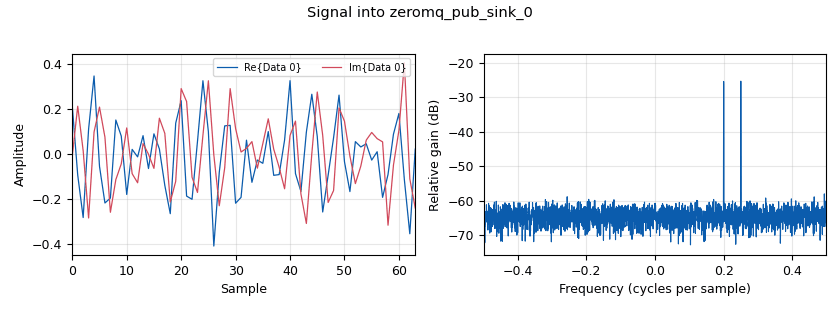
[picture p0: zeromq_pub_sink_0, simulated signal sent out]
<?xml version='1.0' encoding='utf-8'?>
<?grc format='1' created='3.7.13'?>
<flow_graph>
<block>
<key>options</key>
<param><key>id</key><value>zmq_remotectrl_sink_local</value></param>
<param><key>generate_options</key><value>qt_gui</value></param>
</block>
<block>
<key>variable_qtgui_range</key>
<param><key>id</key><value>noise_ampl</value></param>
<param><key>value</key><value>0.1</value></param>
<param><key>gui_hint</key><value>1,0,1,2</value></param>
<param><key>label</key><value>Noise Amplitude</value></param>
<param><key>orient</key><value>Qt.Horizontal</value></param>
<param><key>start</key><value>0</value></param>
<param><key>step</key><value>.001</value></param>
<param><key>stop</key><value>1</value></param>
</block>
<block>
<key>variable</key>
<param><key>id</key><value>samp_rate</value></param>
<param><key>value</key><value>32000</value></param>
</block>
<block>
<key>variable_qtgui_range</key>
<param><key>id</key><value>tone1</value></param>
<param><key>value</key><value>samp_rate/4</value></param>
<param><key>gui_hint</key><value>0,0,1,2</value></param>
<param><key>label</key><value>Tone 1</value></param>
<param><key>orient</key><value>Qt.Horizontal</value></param>
<param><key>start</key><value>-samp_rate/2</value></param>
<param><key>step</key><value>1</value></param>
<param><key>stop</key><value>samp_rate/2</value></param>
</block>
<block>
<key>variable_qtgui_range</key>
<param><key>id</key><value>tone2</value></param>
<param><key>value</key><value>samp_rate/5</value></param>
<param><key>gui_hint</key><value>0,2,1,2</value></param>
<param><key>label</key><value>Tone 2</value></param>
<param><key>orient</key><value>Qt.Horizontal</value></param>
<param><key>start</key><value>-samp_rate/2</value></param>
<param><key>step</key><value>1</value></param>
<param><key>stop</key><value>samp_rate/2</value></param>
</block>
<block>
<key>variable_qtgui_range</key>
<param><key>id</key><value>tone_ampl</value></param>
<param><key>value</key><value>0.15</value></param>
<param><key>gui_hint</key><value>1,2,1,2</value></param>
<param><key>label</key><value>Tone Amplitude</value></param>
<param><key>orient</key><value>Qt.Horizontal</value></param>
<param><key>start</key><value>0</value></param>
<param><key>step</key><value>.001</value></param>
<param><key>stop</key><value>1</value></param>
</block>
<block>
<key>variable_qtgui_range</key>
<param><key>id</key><value>tun_freq</value></param>
<param><key>value</key><value>2.40e9</value></param>
<param><key>gui_hint</key><value>3,0,1,4</value></param>
<param><key>label</key><value>UHD Freq (Hz)</value></param>
<param><key>orient</key><value>Qt.Horizontal</value></param>
<param><key>start</key><value>60e6</value></param>
<param><key>step</key><value>1</value></param>
<param><key>stop</key><value>6e9</value></param>
</block>
<block>
<key>variable_qtgui_range</key>
<param><key>id</key><value>tun_rx_gain</value></param>
<param><key>value</key><value>0</value></param>
<param><key>_enabled</key><value>0</value></param>
<param><key>gui_hint</key><value>4,2,1,2</value></param>
<param><key>label</key><value>UHD Rx Gain</value></param>
<param><key>orient</key><value>Qt.Horizontal</value></param>
<param><key>start</key><value>0</value></param>
<param><key>step</key><value>1</value></param>
<param><key>stop</key><value>20</value></param>
</block>
<block>
<key>variable_qtgui_range</key>
<param><key>id</key><value>tun_tx_gain</value></param>
<param><key>value</key><value>0</value></param>
<param><key>gui_hint</key><value>4,0,1,2</value></param>
<param><key>label</key><value>UHD Tx Gain</value></param>
<param><key>orient</key><value>Qt.Horizontal</value></param>
<param><key>start</key><value>0</value></param>
<param><key>step</key><value>1</value></param>
<param><key>stop</key><value>20</value></param>
</block>
<block>
<key>parameter</key>
<param><key>id</key><value>address0</value></param>
<param><key>label</key><value>IP Address, Dev 0</value></param>
<param><key>type</key><value>string</value></param>
<param><key>value</key><value></value></param>
</block>
<block>
<key>parameter</key>
<param><key>id</key><value>address1</value></param>
<param><key>_enabled</key><value>0</value></param>
<param><key>label</key><value>IP Address, Dev 1</value></param>
<param><key>type</key><value>string</value></param>
<param><key>value</key><value>addr=192.168.10.2</value></param>
</block>
<block>
<key>analog_noise_source_x</key>
<param><key>id</key><value>analog_noise_source_x_0</value></param>
<param><key>amp</key><value>noise_ampl</value></param>
<param><key>noise_type</key><value>analog.GR_GAUSSIAN</value></param>
<param><key>type</key><value>complex</value></param>
<param><key>seed</key><value>-42</value></param>
</block>
<block>
<key>analog_sig_source_x</key>
<param><key>id</key><value>analog_sig_source_x_0</value></param>
<param><key>amp</key><value>tone_ampl</value></param>
<param><key>freq</key><value>tone1</value></param>
<param><key>offset</key><value>0</value></param>
<param><key>type</key><value>complex</value></param>
<param><key>samp_rate</key><value>samp_rate</value></param>
<param><key>waveform</key><value>analog.GR_COS_WAVE</value></param>
</block>
<block>
<key>analog_sig_source_x</key>
<param><key>id</key><value>analog_sig_source_x_1</value></param>
<param><key>amp</key><value>tone_ampl</value></param>
<param><key>freq</key><value>tone2</value></param>
<param><key>offset</key><value>0</value></param>
<param><key>type</key><value>complex</value></param>
<param><key>samp_rate</key><value>samp_rate</value></param>
<param><key>waveform</key><value>analog.GR_COS_WAVE</value></param>
</block>
<block>
<key>blocks_add_xx</key>
<param><key>id</key><value>blocks_add_xx</value></param>
<param><key>type</key><value>complex</value></param>
<param><key>num_inputs</key><value>3</value></param>
</block>
<block>
<key>zeromq_pub_msg_sink</key>
<param><key>id</key><value>ctrl_msg</value></param>
<param><key>address</key><value>tcp://*:5001</value></param>
<param><key>timeout</key><value>100</value></param>
</block>
<block>
<key>parameter</key>
<param><key>id</key><value>freq</value></param>
<param><key>_enabled</key><value>0</value></param>
<param><key>label</key><value>Default Frequency</value></param>
<param><key>short_id</key><value>f</value></param>
<param><key>type</key><value>eng_float</value></param>
<param><key>value</key><value>2.45e9</value></param>
</block>
<block>
<key>parameter</key>
<param><key>id</key><value>freq_offset</value></param>
<param><key>_enabled</key><value>0</value></param>
<param><key>label</key><value>Rx Frequency Offset</value></param>
<param><key>short_id</key><value>o</value></param>
<param><key>type</key><value>eng_float</value></param>
<param><key>value</key><value>0</value></param>
</block>
<block>
<key>qtgui_edit_box_msg</key>
<param><key>id</key><value>qtgui_edit_box_msg_0</value></param>
<param><key>key</key><value>tx_freq</value></param>
<param><key>label</key><value>Message Control</value></param>
<param><key>is_static</key><value>False</value></param>
<param><key>type</key><value>string</value></param>
<param><key>value</key><value>102100000</value></param>
</block>
<block>
<key>parameter</key>
<param><key>id</key><value>rx_gain</value></param>
<param><key>_enabled</key><value>0</value></param>
<param><key>label</key><value>Default RX Gain</value></param>
<param><key>type</key><value>eng_float</value></param>
<param><key>value</key><value>0</value></param>
</block>
<block>
<key>parameter</key>
<param><key>id</key><value>samp_rate_0</value></param>
<param><key>_enabled</key><value>0</value></param>
<param><key>label</key><value>Sample Rate</value></param>
<param><key>short_id</key><value>s</value></param>
<param><key>type</key><value>eng_float</value></param>
<param><key>value</key><value>500e3</value></param>
</block>
<block>
<key>parameter</key>
<param><key>id</key><value>tx_gain</value></param>
<param><key>_enabled</key><value>0</value></param>
<param><key>label</key><value>Default TX Gain</value></param>
<param><key>type</key><value>eng_float</value></param>
<param><key>value</key><value>0</value></param>
</block>
<block>
<key>zeromq_pub_sink</key>
<param><key>id</key><value>zeromq_pub_sink_0</value></param>
<param><key>address</key><value>tcp://*:5002</value></param>
<param><key>type</key><value>complex</value></param>
<param><key>timeout</key><value>100</value></param>
</block>
<connection><source_block_id>analog_noise_source_x_0</source_block_id><sink_block_id>blocks_add_xx</sink_block_id><source_key>0</source_key><sink_key>2</sink_key></connection>
<connection><source_block_id>analog_sig_source_x_0</source_block_id><sink_block_id>blocks_add_xx</sink_block_id><source_key>0</source_key><sink_key>0</sink_key></connection>
<connection><source_block_id>analog_sig_source_x_1</source_block_id><sink_block_id>blocks_add_xx</sink_block_id><source_key>0</source_key><sink_key>1</sink_key></connection>
<connection><source_block_id>blocks_add_xx</source_block_id><sink_block_id>zeromq_pub_sink_0</sink_block_id><source_key>0</source_key><sink_key>0</sink_key></connection>
<connection><source_block_id>qtgui_edit_box_msg_0</source_block_id><sink_block_id>ctrl_msg</sink_block_id><source_key>msg</source_key><sink_key>in</sink_key></connection>
</flow_graph>
